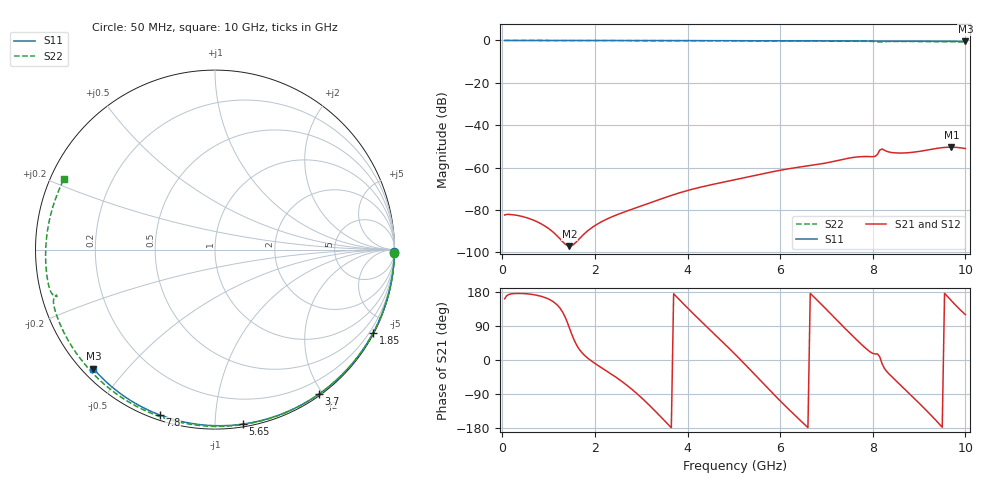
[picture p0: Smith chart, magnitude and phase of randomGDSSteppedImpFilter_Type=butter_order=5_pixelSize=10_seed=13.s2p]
! freq	dB(S11)	phase(S11)	dB(S12)	phase(S12)
!  dB(S21)	phase(S21)	dB(S22)	phase(S22)
!S-par simulation data
#  GHz  S  DB  R 50
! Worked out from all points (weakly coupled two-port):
!   200 points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, 50 MHz to 10 GHz, reference 50 ohm
!   highest |S21| = -50.35 dB at 9.7 GHz (marker M1); lowest = -97.1 dB at 1.45 GHz (marker M2)
!   lowest |S11| = -0.5 dB at 10 GHz (marker M3), VSWR 37.26, Z = 1.57 - j20.4 ohm
!   |S11| at or under -10 dB: nowhere
!   |S22| runs from -0.7 to 0.0 dB; largest |S21 - S12| = 0
!   S11 on the Smith chart (normalised r, x): 50 MHz: open; 1.85 GHz: 0.04, -4.05; 3.7 GHz: 0.02, -1.95; 5.65 GHz: 0.02, -1.17; 7.8 GHz: 0.02, -0.72; 10 GHz: 0.03, -0.41
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0.05  -0.00 -0.8  -82.37 161.6  -82.37 161.6  -0.00 -1.1
0.75  -0.01 -11.4  -85.54 170.8  -85.54 170.8  -0.02 -16.0
1.45  -0.03 -21.8  -97.09 84.4  -97.09 84.4  -0.04 -30.6
1.75  -0.03 -26.3  -91.66 15.4  -91.66 15.4  -0.05 -36.9
1.85  -0.04 -27.7  -89.74 4.3  -89.74 4.3  -0.05 -38.9
2.75  -0.05 -40.9  -80.04 -72.5  -80.04 -72.5  -0.07 -57.3
3.4  -0.07 -50.2  -75.03 -147.0  -75.03 -147.0  -0.09 -70.3
3.7  -0.07 -54.4  -72.79 174.8  -72.79 174.8  -0.11 -76.3
4.35  -0.09 -63.4  -68.89 95.3  -68.89 95.3  -0.13 -89.0
5.05  -0.11 -73.0  -65.58 12.2  -65.58 12.2  -0.16 -102.5
5.65  -0.14 -80.9  -62.76 -63.9  -62.76 -63.9  -0.20 -114.1
6.7  -0.19 -94.6  -58.88 169.9  -58.88 169.9  -0.27 -134.4
7.5  -0.23 -104.7  -55.47 71.4  -55.47 71.4  -0.35 -150.2
7.8  -0.25 -108.5  -54.79 36.1  -54.79 36.1  -0.39 -156.5
8.05  -0.27 -111.6  -54.71 15.9  -54.71 15.9  -0.48 -162.2
8.1  -0.28 -112.2  -53.82 16.2  -53.82 16.2  -0.57 -163.4
8.15  -0.28 -112.8  -51.78 8.5  -51.78 8.5  -0.74 -164.0
8.2  -0.29 -113.4  -51.20 -9.7  -51.20 -9.7  -0.74 -163.4
8.35  -0.30 -115.3  -52.66 -36.6  -52.66 -36.6  -0.47 -166.7
8.75  -0.33 -120.2  -53.01 -84.0  -53.01 -84.0  -0.48 -175.8
9.7  -0.43 -131.9  -50.35 156.1  -50.35 156.1  -0.61 162.3
10  -0.47 -135.6  -51.03 119.7  -51.03 119.7  -0.64 154.9
